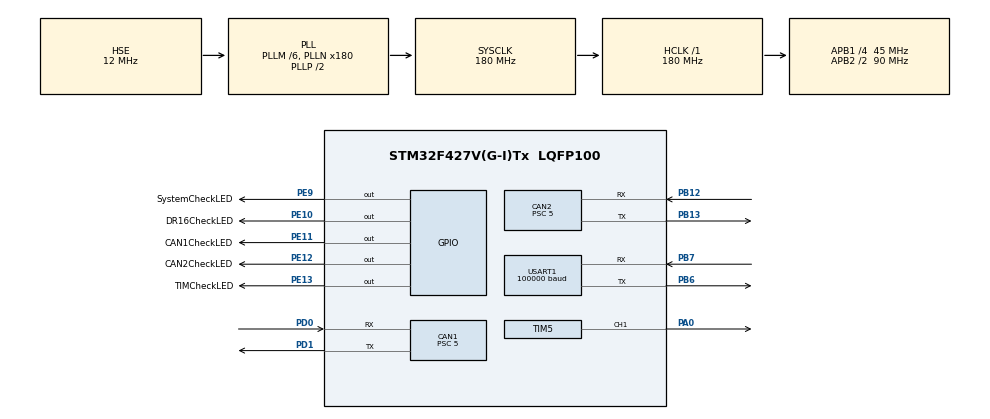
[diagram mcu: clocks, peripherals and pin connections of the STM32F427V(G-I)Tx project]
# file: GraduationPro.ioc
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CAN1.ABOM=ENABLE
CAN1.AWUM=ENABLE
CAN1.BS1=CAN_BS1_3TQ
CAN1.BS2=CAN_BS2_5TQ
CAN1.CalculateTimeQuantum=111.11111111111111
CAN1.Prescaler=5
CAN2.ABOM=ENABLE
CAN2.AWUM=ENABLE
CAN2.BS1=CAN_BS1_3TQ
CAN2.BS2=CAN_BS2_5TQ
CAN2.CalculateTimeQuantum=111.11111111111111
CAN2.Prescaler=5
Dma.Request0=USART1_RX
Dma.USART1_RX.0.Direction=DMA_PERIPH_TO_MEMORY
Dma.USART1_RX.0.FIFOMode=DMA_FIFOMODE_DISABLE
Dma.USART1_RX.0.Instance=DMA2_Stream2
Dma.USART1_RX.0.MemDataAlignment=DMA_MDATAALIGN_BYTE
Dma.USART1_RX.0.MemInc=DMA_MINC_ENABLE
Dma.USART1_RX.0.Mode=DMA_CIRCULAR
Dma.USART1_RX.0.PeriphDataAlignment=DMA_PDATAALIGN_BYTE
Dma.USART1_RX.0.PeriphInc=DMA_PINC_DISABLE
Dma.USART1_RX.0.Priority=DMA_PRIORITY_LOW
FREERTOS.INCLUDE_vTaskDelayUntil=1
FREERTOS.INCLUDE_vTaskSuspend=0
FREERTOS.INCLUDE_xTaskGetHandle=1
FREERTOS.Queues01=xQueueCanReceive,20,CAN_RxTypedef,0,Dynamic,NULL,NULL
FREERTOS.Tasks01=StartTask,0,128,StartTaskEnter,Default,NULL,Dynamic,NULL,NULL;CANTask,2,500,CANTaskEnter,Default,NULL,Dynamic,NULL,NULL;ControlTask,0,500,ControlTaskEnter,Default,NULL,Dynamic,NULL,NULL
FREERTOS.configMAX_PRIORITIES=31
Mcu.Family=STM32F4
Mcu.Name=STM32F427V(G-I)Tx
Mcu.Package=LQFP100
NVIC.CAN1_RX0_IRQn=true\:5\:0\:false\:false\:true\:true\:true\:true
NVIC.CAN2_RX0_IRQn=true\:5\:0\:false\:false\:true\:true\:true\:true
NVIC.DMA2_Stream2_IRQn=true\:5\:0\:false\:false\:true\:true\:false\:true
NVIC.PriorityGroup=NVIC_PRIORITYGROUP_4
NVIC.TIM6_DAC_IRQn=true\:0\:0\:false\:false\:true\:false\:false\:true
NVIC.TimeBase=TIM6_DAC_IRQn
NVIC.TimeBaseIP=TIM6
NVIC.USART1_IRQn=true\:5\:0\:false\:false\:true\:true\:true\:true
PA0/WKUP.Signal=S_TIM5_CH1
PA13.Mode=Serial_Wire
PA13.Signal=SYS_JTMS-SWDIO
PA14.Mode=Serial_Wire
PA14.Signal=SYS_JTCK-SWCLK
PB12.GPIO_PuPd=GPIO_NOPULL
PB12.Mode=Slave
PB12.Signal=CAN2_RX
PB13.GPIO_PuPd=GPIO_NOPULL
PB13.Mode=Slave
PB13.Signal=CAN2_TX
PB6.Mode=Asynchronous
PB6.Signal=USART1_TX
PB7.Mode=Asynchronous
PB7.Signal=USART1_RX
PD0.Mode=Master
PD0.Signal=CAN1_RX
PD1.Mode=Master
PD1.Signal=CAN1_TX
PE10.GPIO_Label=DR16CheckLED
PE10.PinState=GPIO_PIN_SET
PE10.Signal=GPIO_Output
PE11.GPIO_Label=CAN1CheckLED
PE11.PinState=GPIO_PIN_SET
PE11.Signal=GPIO_Output
PE12.GPIO_Label=CAN2CheckLED
PE12.PinState=GPIO_PIN_SET
PE12.Signal=GPIO_Output
PE13.GPIO_Label=TIMCheckLED
PE13.PinState=GPIO_PIN_SET
PE13.Signal=GPIO_Output
PE9.GPIO_Label=SystemCheckLED
PE9.PinState=GPIO_PIN_SET
PE9.Signal=GPIO_Output
PH0/OSC_IN.Mode=HSE-External-Oscillator
PH0/OSC_IN.Signal=RCC_OSC_IN
PH1/OSC_OUT.Mode=HSE-External-Oscillator
PH1/OSC_OUT.Signal=RCC_OSC_OUT
ProjectManager.HeapSize=0x200
ProjectManager.StackSize=0x400
ProjectManager.TargetToolchain=MDK-ARM V5.27
RCC.48MHZClocksFreq_Value=90000000
RCC.AHBFreq_Value=180000000
RCC.APB1CLKDivider=RCC_HCLK_DIV4
RCC.APB1Freq_Value=45000000
RCC.APB1TimFreq_Value=90000000
RCC.APB2CLKDivider=RCC_HCLK_DIV2
RCC.APB2Freq_Value=90000000
RCC.APB2TimFreq_Value=180000000
RCC.CortexFreq_Value=180000000
RCC.HCLKFreq_Value=180000000
RCC.HSE_VALUE=12000000
RCC.HSI_VALUE=16000000
RCC.LSE_VALUE=32768
RCC.PLLM=6
RCC.PLLN=180
RCC.PLLSourceVirtual=RCC_PLLSOURCE_HSE
RCC.SYSCLKFreq_VALUE=180000000
RCC.SYSCLKSource=RCC_SYSCLKSOURCE_PLLCLK
RCC.VCOOutputFreq_Value=360000000
SH.S_TIM5_CH1.0=TIM5_CH1,PWM Generation1 CH1
TIM5.Channel-PWM\ Generation1\ CH1=TIM_CHANNEL_1
TIM5.Period=200
TIM5.Prescaler=8999
TIM5.Pulse-PWM\ Generation1\ CH1=1000
USART1.BaudRate=100000
USART1.VirtualMode=VM_ASYNC
VP_FREERTOS_VS_CMSIS_V1.Mode=CMSIS_V1
VP_SYS_VS_tim6.Mode=TIM6
board=custom

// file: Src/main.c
/* USER CODE BEGIN Header */
/**
  ******************************************************************************
  * @file           : main.c
  * @brief          : Main program body
  ******************************************************************************
  * @attention
  *
  * <h2><center>&copy; Copyright (c) 2021 STMicroelectronics.
  * All rights reserved.</center></h2>
  *
  * This software component is licensed by ST under BSD 3-Clause license,
  * the "License"; You may not use this file except in compliance with the
  * License. You may obtain a copy of the License at:
  *                        opensource.org/licenses/BSD-3-Clause
  *
  ******************************************************************************
  */
/* USER CODE END Header */

#include "main.h"
#include "cmsis_os.h"
#include "can.h"
#include "dma.h"
#include "tim.h"
#include "usart.h"
#include "gpio.h"

/* USER CODE BEGIN Includes */
#include "DR16_Remote.h"

#include "handle.h"
/* USER CODE END Includes */

void SystemClock_Config(void);
void MX_FREERTOS_Init(void);

int main(void)
{

  /* MCU Configuration--------------------------------------------------------*/

  /* Reset of all peripherals, Initializes the Flash interface and the Systick. */
  HAL_Init();

  /* Configure the system clock */
  SystemClock_Config();

  /* Initialize all configured peripherals */
  MX_GPIO_Init();
  MX_DMA_Init();
  MX_USART1_UART_Init();
  MX_CAN1_Init();
  MX_CAN2_Init();
  MX_TIM5_Init();

  /* Call init function for freertos objects (in freertos.c) */
  MX_FREERTOS_Init();
  /* Start scheduler */
  osKernelStart();

  /* We should never get here as control is now taken by the scheduler */
  /* Infinite loop */
  while (1)
  {

  }
}

void SystemClock_Config(void)
{
  RCC_OscInitTypeDef RCC_OscInitStruct = {0};
  RCC_ClkInitTypeDef RCC_ClkInitStruct = {0};

  /** Configure the main internal regulator output voltage
  */
  __HAL_RCC_PWR_CLK_ENABLE();
  __HAL_PWR_VOLTAGESCALING_CONFIG(PWR_REGULATOR_VOLTAGE_SCALE1);
  /** Initializes the CPU, AHB and APB busses clocks
  */
  RCC_OscInitStruct.OscillatorType = RCC_OSCILLATORTYPE_HSE;
  RCC_OscInitStruct.HSEState = RCC_HSE_ON;
  RCC_OscInitStruct.PLL.PLLState = RCC_PLL_ON;
  RCC_OscInitStruct.PLL.PLLSource = RCC_PLLSOURCE_HSE;
  RCC_OscInitStruct.PLL.PLLM = 6;
  RCC_OscInitStruct.PLL.PLLN = 180;
  RCC_OscInitStruct.PLL.PLLP = RCC_PLLP_DIV2;
  RCC_OscInitStruct.PLL.PLLQ = 4;
  if (HAL_RCC_OscConfig(&RCC_OscInitStruct) != HAL_OK)
  {
    Error_Handler();
  }
  /** Activate the Over-Drive mode
  */
  if (HAL_PWREx_EnableOverDrive() != HAL_OK)
  {
    Error_Handler();
  }
  /** Initializes the CPU, AHB and APB busses clocks
  */
  RCC_ClkInitStruct.ClockType = RCC_CLOCKTYPE_HCLK|RCC_CLOCKTYPE_SYSCLK
                              |RCC_CLOCKTYPE_PCLK1|RCC_CLOCKTYPE_PCLK2;
  RCC_ClkInitStruct.SYSCLKSource = RCC_SYSCLKSOURCE_PLLCLK;
  RCC_ClkInitStruct.AHBCLKDivider = RCC_SYSCLK_DIV1;
  RCC_ClkInitStruct.APB1CLKDivider = RCC_HCLK_DIV4;
  RCC_ClkInitStruct.APB2CLKDivider = RCC_HCLK_DIV2;

  if (HAL_RCC_ClockConfig(&RCC_ClkInitStruct, FLASH_LATENCY_5) != HAL_OK)
  {
    Error_Handler();
  }
}

 /**
  * @brief  Period elapsed callback in non blocking mode
  * @note   This function is called  when TIM6 interrupt took place, inside
  * HAL_TIM_IRQHandler(). It makes a direct call to HAL_IncTick() to increment
  * a global variable "uwTick" used as application time base.
  * @param  htim : TIM handle
  * @retval None
  */
void HAL_TIM_PeriodElapsedCallback(TIM_HandleTypeDef *htim)
{
  if (htim->Instance == TIM6) {
    HAL_IncTick();
  }
}

void Error_Handler(void)
{
}

/************************ (C) COPYRIGHT STMicroelectronics *****END OF FILE****/

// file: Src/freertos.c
/* USER CODE BEGIN Header */
/**
  ******************************************************************************
  * File Name          : freertos.c
  * Description        : Code for freertos applications
  ******************************************************************************
  * @attention
  *
  * <h2><center>&copy; Copyright (c) 2021 STMicroelectronics.
  * All rights reserved.</center></h2>
  *
  * This software component is licensed by ST under Ultimate Liberty license
  * SLA0044, the "License"; You may not use this file except in compliance with
  * the License. You may obtain a copy of the License at:
  *                             www.st.com/SLA0044
  *
  ******************************************************************************
  */
/* USER CODE END Header */

#include "FreeRTOS.h"
#include "task.h"
#include "main.h"
#include "cmsis_os.h"

/* USER CODE BEGIN Includes */
#include "Classical_Control.h"

#include "DJIMotor.h"
#include "BLDCMotor.h"
#include "Enconder.h"

#include "handle.h"
/* USER CODE END Includes */

osThreadId StartTaskHandle;
osThreadId CANTaskHandle;
osThreadId ControlTaskHandle;
osMessageQId xQueueCanReceiveHandle;

void StartTaskEnter(void const * argument);
void CANTaskEnter(void const * argument);
void ControlTaskEnter(void const * argument);

void MX_FREERTOS_Init(void); /* (MISRA C 2004 rule 8.1) */

/* GetIdleTaskMemory prototype (linked to static allocation support) */
void vApplicationGetIdleTaskMemory( StaticTask_t **ppxIdleTaskTCBBuffer, StackType_t **ppxIdleTaskStackBuffer, uint32_t *pulIdleTaskStackSize );

/* USER CODE BEGIN GET_IDLE_TASK_MEMORY */
static StaticTask_t xIdleTaskTCBBuffer;
static StackType_t xIdleStack[configMINIMAL_STACK_SIZE];

void vApplicationGetIdleTaskMemory( StaticTask_t **ppxIdleTaskTCBBuffer, StackType_t **ppxIdleTaskStackBuffer, uint32_t *pulIdleTaskStackSize )
{
  *ppxIdleTaskTCBBuffer = &xIdleTaskTCBBuffer;
  *ppxIdleTaskStackBuffer = &xIdleStack[0];
  *pulIdleTaskStackSize = configMINIMAL_STACK_SIZE;
  /* place for user code */
}
/* USER CODE END GET_IDLE_TASK_MEMORY */

void MX_FREERTOS_Init(void) {

  /* Create the queue(s) */
  /* definition and creation of xQueueCanReceive */
  osMessageQDef(xQueueCanReceive, 20, CAN_RxTypedef);
  xQueueCanReceiveHandle = osMessageCreate(osMessageQ(xQueueCanReceive), NULL);

  /* Create the thread(s) */
  /* definition and creation of StartTask */
  osThreadDef(StartTask, StartTaskEnter, osPriorityNormal, 0, 128);
  StartTaskHandle = osThreadCreate(osThread(StartTask), NULL);

  /* definition and creation of CANTask */
  osThreadDef(CANTask, CANTaskEnter, osPriorityHigh, 0, 500);
  CANTaskHandle = osThreadCreate(osThread(CANTask), NULL);

  /* definition and creation of ControlTask */
  osThreadDef(ControlTask, ControlTaskEnter, osPriorityNormal, 0, 500);
  ControlTaskHandle = osThreadCreate(osThread(ControlTask), NULL);

}

void StartTaskEnter(void const * argument)
{
  /* USER CODE BEGIN StartTaskEnter */
  /* Infinite loop */

	DJIMotorFunction.DJI_Motor_CAN1_IT_Init();
	BLDCMotorFunction.BLDC_Motor_CAN2_IT_Init();
	DR16.DR16_USART1_IT_Init();
	EnconderFunction.Enc_CAN1_IT_Init();

  taskENTER_CRITICAL();

	vTaskDelete(NULL);
	taskEXIT_CRITICAL();
  /* USER CODE END StartTaskEnter */
}

void CANTaskEnter(void const * argument)
{
  /* USER CODE BEGIN CANTaskEnter */
  /* Infinite loop */

	CAN_RxTypedef CanReceiveData;

  for(;;)
  {
    xQueueReceive(xQueueCanReceiveHandle, &CanReceiveData, portMAX_DELAY);

		if(CanReceiveData.CAN_Switch == 1)
		{
			switch(CanReceiveData.CAN_RxHeader.StdId)
			{
				case M3508_READID_START:
				case M3508_READID_SEC:
				case M3508_READID_THIR:
				case M3508_READID_END:
					DJIMotorFunction.DJI_Motor3508Process(CanReceiveData);
					break;

				case Encoder_HOST_CMD:
					EnconderFunction.Encoder_Process(CanReceiveData);
					break;
				default:
					break;
			}

		}
		if(CanReceiveData.CAN_Switch == 2)
		{
			BLDCMotorFunction.BLDCMotor_Process(CanReceiveData);
		}

    osDelay(5);
  }
  /* USER CODE END CANTaskEnter */
}

void ControlTaskEnter(void const * argument)
{
  /* USER CODE BEGIN ControlTaskEnter */
  /* Infinite loop */
  for(;;)
  {
		Classical.Classical_Control(&DR16_Export_data);

    osDelay(5);
  }
  /* USER CODE END ControlTaskEnter */
}

/************************ (C) COPYRIGHT STMicroelectronics *****END OF FILE****/
